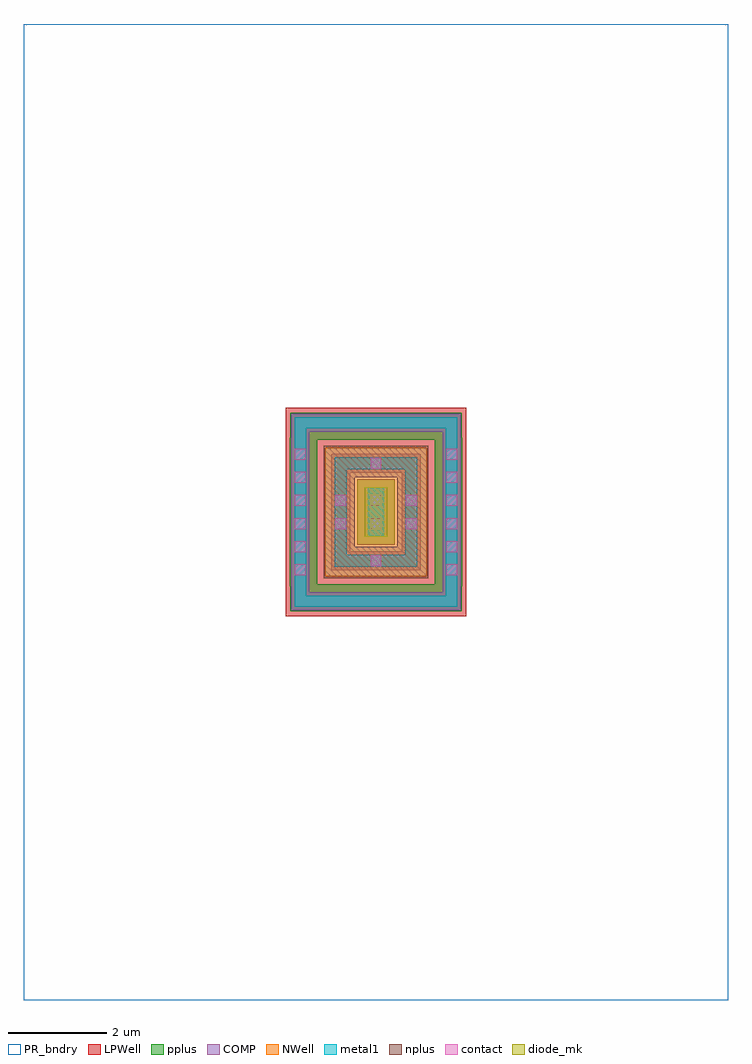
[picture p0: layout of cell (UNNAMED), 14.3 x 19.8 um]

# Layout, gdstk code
import gdstk
lib = gdstk.Library(unit=1e-6, precision=1e-09)
def R(c, l, rs):  # rectangles x0, y0, x1, y1
    for r in rs: c.add(gdstk.rectangle(r[:2], r[2:], *l))
def A(c, l, x, y, w, h, nx, ny, dx, dy):  # array of equal rectangles
    R(c, l, [(x+i*dx, y+j*dy, x+i*dx+w, y+j*dy+h) for i in range(nx) for j in range(ny)])
PR_bndry = (0, 0)
NWell = (21, 0)
COMP = (22, 0)
pplus = (31, 0)
nplus = (32, 0)
contact = (33, 0)
metal1 = (34, 0)
diode_mk = (115, 5)
LPWell = (204, 0)

c__unnamed_ = lib.new_cell('(UNNAMED)')
R(c__unnamed_, PR_bndry, [(-7.15,-9.9,7.15,9.9)])
R(c__unnamed_, NWell, [(-1.025,-1.3,1.025,1.3)])
R(c__unnamed_, COMP, [(-1.715,-1.99,1.715,-1.63), (-1.715,-1.63,-1.355,1.63), (1.355,-1.63,1.715,1.63), (-0.905,-1.18,0.905,-0.8), (-0.905,-0.8,-0.525,0.8), (0.525,-0.8,0.905,0.8), (-0.225,-0.5,0.225,0.5), (-0.905,0.8,0.905,1.18), (-1.715,1.63,1.715,1.99)])
R(c__unnamed_, pplus, [(-1.735,-2.01,1.735,-1.505), (-1.745,-1.505,1.745,-1.47), (-1.745,-1.47,-1.195,1.47), (1.195,-1.47,1.745,1.47), (-0.385,-0.66,0.385,0.66), (-1.745,1.47,1.745,1.505), (-1.735,1.505,1.735,2.01)])
R(c__unnamed_, nplus, [(-1.065,-1.34,1.065,-0.71), (-1.065,-0.71,-0.435,0.71), (0.435,-0.71,1.065,0.71), (-1.065,0.71,1.065,1.34)])
A(c__unnamed_, contact, -1.645, -1.285, 0.22, 0.22, 1, 6, 0, 0.47)
A(c__unnamed_, contact, 1.425, -1.285, 0.22, 0.22, 1, 6, 0, 0.47)
A(c__unnamed_, contact, -0.825, -0.345, 0.22, 0.22, 3, 2, 0.715, 0.47)
R(c__unnamed_, contact, [(-0.11,-1.1,0.11,-0.88), (-0.11,0.88,0.11,1.1)])
R(c__unnamed_, metal1, [(-1.65,-1.925,1.65,-1.695), (-1.65,-1.695,-1.42,1.695), (1.42,-1.695,1.65,1.695), (-0.84,-1.115,0.84,-0.865), (-0.84,-0.865,-0.59,0.865), (0.59,-0.865,0.84,0.865), (-0.16,-0.49,0.16,0.49), (-0.84,0.865,0.84,1.115), (-1.65,1.695,1.65,1.925)])
R(c__unnamed_, diode_mk, [(-0.225,-0.5,0.225,0.5)])
R(c__unnamed_, LPWell, [(-1.835,-2.11,1.835,-1.3), (-1.835,-1.3,-1.025,1.3), (1.025,-1.3,1.835,1.3), (-1.835,1.3,1.835,2.11)])

lib.write_gds('_UNNAMED_.gds')
